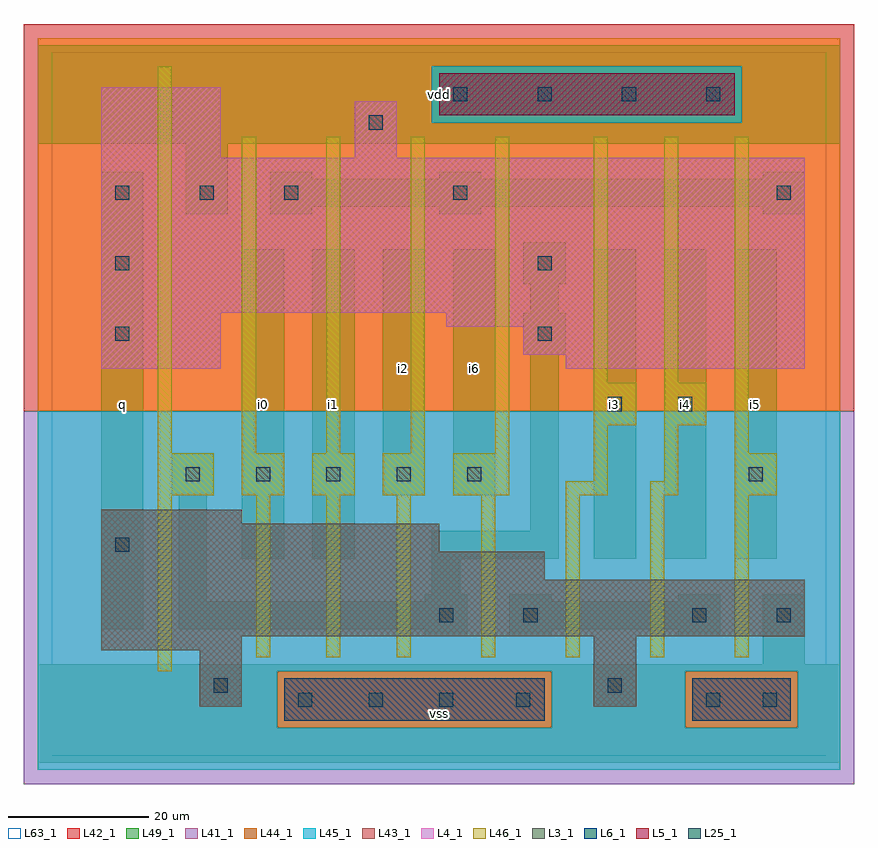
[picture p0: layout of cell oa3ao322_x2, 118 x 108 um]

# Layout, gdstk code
import gdstk
lib = gdstk.Library(unit=1e-6, precision=1e-09)
def R(c, l, rs):  # rectangles x0, y0, x1, y1
    for r in rs: c.add(gdstk.rectangle(r[:2], r[2:], *l))
def A(c, l, x, y, w, h, nx, ny, dx, dy):  # array of equal rectangles
    R(c, l, [(x+i*dx, y+j*dy, x+i*dx+w, y+j*dy+h) for i in range(nx) for j in range(ny)])
L3_1 = (3, 1)
L4_1 = (4, 1)
L5_1 = (5, 1)
L6_1 = (6, 1)
L25_1 = (25, 1)
L41_1 = (41, 1)
L42_1 = (42, 1)
L43_1 = (43, 1)
L44_1 = (44, 1)
L45_1 = (45, 1)
L46_1 = (46, 1)
L49_1 = (49, 1)
L63_1 = (63, 1)

oa3ao322_x2 = lib.new_cell('oa3ao322_x2')
R(oa3ao322_x2, L3_1, [(21,7,27,15), (77,7,83,17), (7,15,27,17), (7,17,107,25), (7,25,70,29), (7,29,55,33), (7,33,27,35)])
R(oa3ao322_x2, L4_1, [(7,55,24,63), (73,55,107,57), (67,57,107,61), (56,61,107,63), (7,63,107,85), (7,85,24,95), (43,85,49,93)])
R(oa3ao322_x2, L5_1, [(55,91,97,97)])
R(oa3ao322_x2, L6_1, [(33,5,70,11), (91,5,105,11)])
A(oa3ao322_x2, L25_1, 35, 7, 2, 2, 3, 1, 10, 0)
A(oa3ao322_x2, L25_1, 19, 39, 2, 2, 5, 1, 10, 0)
A(oa3ao322_x2, L25_1, 9, 79, 2, 2, 3, 1, 12, 0)
A(oa3ao322_x2, L25_1, 57, 93, 2, 2, 4, 1, 12, 0)
R(oa3ao322_x2, L25_1, [(66,7,68,9), (93,7,95,9), (101,7,103,9), (23,9,25,11), (79,9,81,11), (55,19,57,21), (67,19,69,21), (91,19,93,21), (103,19,105,21), (9,29,11,31), (99,39,101,41), (79,49,81,51), (89,49,91,51), (9,59,11,61), (69,59,71,61), (9,69,11,71), (69,69,71,71), (57,79,59,81), (103,79,105,81), (45,89,47,91)])
R(oa3ao322_x2, L41_1, [(-4,-4,114,49)])
R(oa3ao322_x2, L42_1, [(-4,49,114,104)])
R(oa3ao322_x2, L43_1, [(33,5,70,11), (91,5,105,11), (21,7,27,15), (77,7,83,17), (7,15,27,17), (7,17,107,25), (7,25,70,29), (7,29,55,33), (7,33,27,35), (7,55,24,63), (73,55,107,57), (67,57,107,61), (56,61,107,63), (7,63,107,85), (7,85,24,95), (43,85,49,93), (55,91,97,97)])
R(oa3ao322_x2, L44_1, [(32,4,71,12), (90,4,106,12), (-2,49,112,90), (-2,90,54,98), (98,90,112,98), (-2,98,112,102)])
R(oa3ao322_x2, L45_1, [(-2,-2,112,4), (-2,4,32,12), (71,4,90,12), (106,4,112,12), (-2,12,112,49), (54,90,98,98)])
A(oa3ao322_x2, L46_1, 29, 14, 2, 23, 3, 1, 10, 0)
A(oa3ao322_x2, L46_1, 61, 14, 2, 23, 4, 1, 12, 0)
A(oa3ao322_x2, L46_1, 27, 37, 6, 6, 3, 1, 10, 0)
A(oa3ao322_x2, L46_1, 27, 43, 2, 45, 4, 1, 12, 0)
R(oa3ao322_x2, L46_1, [(15,12,17,37), (15,37,23,43), (57,37,65,43), (73,37,79,39), (85,37,89,39), (97,37,103,43), (77,39,79,47), (87,39,89,47), (15,43,17,98), (97,43,99,88), (77,47,83,53), (87,47,93,53), (77,53,79,88), (87,53,89,88)])
A(oa3ao322_x2, L49_1, 77, 28, 6, 44, 3, 1, 10, 0)
R(oa3ao322_x2, L49_1, [(-2,-1,112,13), (101,13,107,23), (53,17,59,18), (65,17,71,18), (89,17,95,18), (7,18,13,83), (18,18,59,22), (65,18,95,22), (18,22,22,37), (53,22,59,23), (65,22,71,23), (89,22,95,23), (54,23,58,28), (27,28,33,72), (37,28,43,72), (54,28,72,32), (68,32,72,57), (17,37,23,43), (47,37,53,72), (57,37,63,72), (67,57,73,63), (68,63,72,67), (67,67,73,73), (19,77,25,87), (31,77,37,78), (55,77,61,78), (101,77,107,78), (31,78,107,82), (31,82,37,83), (55,82,61,83), (101,82,107,83), (-2,87,112,101)])
R(oa3ao322_x2, L63_1, [(0,0,110,100)])
oa3ao322_x2.add(gdstk.Label('q', (10,50), layer=49, texttype=1))
oa3ao322_x2.add(gdstk.Label('q', (10,50), layer=49, texttype=1))
oa3ao322_x2.add(gdstk.Label('i1', (40,50), layer=49, texttype=1))
oa3ao322_x2.add(gdstk.Label('i0', (30,50), layer=49, texttype=1))
oa3ao322_x2.add(gdstk.Label('i1', (40,50), layer=49, texttype=1))
oa3ao322_x2.add(gdstk.Label('i0', (30,50), layer=49, texttype=1))
oa3ao322_x2.add(gdstk.Label('vss', (55,6), layer=49, texttype=1))
oa3ao322_x2.add(gdstk.Label('vss', (55,6), layer=49, texttype=1))
oa3ao322_x2.add(gdstk.Label('i2', (50,55), layer=49, texttype=1))
oa3ao322_x2.add(gdstk.Label('i6', (60,55), layer=49, texttype=1))
oa3ao322_x2.add(gdstk.Label('i6', (60,55), layer=49, texttype=1))
oa3ao322_x2.add(gdstk.Label('i2', (50,55), layer=49, texttype=1))
oa3ao322_x2.add(gdstk.Label('vdd', (55,94), layer=49, texttype=1))
oa3ao322_x2.add(gdstk.Label('vdd', (55,94), layer=49, texttype=1))
oa3ao322_x2.add(gdstk.Label('i3', (80,50), layer=49, texttype=1))
oa3ao322_x2.add(gdstk.Label('i3', (80,50), layer=49, texttype=1))
oa3ao322_x2.add(gdstk.Label('i4', (90,50), layer=49, texttype=1))
oa3ao322_x2.add(gdstk.Label('i4', (90,50), layer=49, texttype=1))
oa3ao322_x2.add(gdstk.Label('i5', (100,50), layer=49, texttype=1))
oa3ao322_x2.add(gdstk.Label('i5', (100,50), layer=49, texttype=1))

lib.write_gds('oa3ao322_x2.gds')
